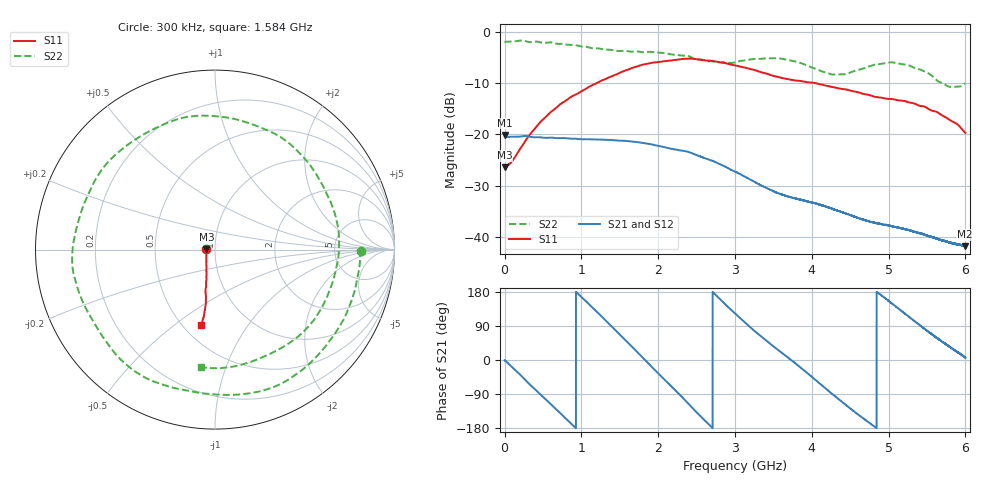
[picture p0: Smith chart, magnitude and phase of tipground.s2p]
!  8/6/2020  02:03:47
! Ref Plane: 0.000 mm
# MHZ S MA R  50
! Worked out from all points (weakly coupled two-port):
!   10001 points, 300 kHz to 6 GHz, reference 50 ohm
!   highest |S21| = -20.10 dB at 300 kHz (marker M1); lowest = -41.9 dB at 5.994 GHz (marker M2)
!   lowest |S11| = -26.5 dB at 300 kHz (marker M3), VSWR 1.10, Z = 45.5 + j0.0582 ohm
!   |S11| at or under -10 dB: start of sweep to 1.191 GHz; 4.063 GHz to end of sweep
!   |S22| runs from -10.7 to -1.6 dB; largest |S21 - S12| = 0.0025
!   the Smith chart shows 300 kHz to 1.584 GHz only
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0.3  0.04754 179.2  0.09885 -0.9  0.09639 -0.9  0.8153 -0.4
287.0857  0.09046 -122.8  0.0965 -56.2  0.0967 -56.3  0.8146 -83.4
590.0705  0.1627 -107.2  0.09302 -114.3  0.09329 -114.3  0.7996 -170.9
818.0591  0.2199 -103.5  0.09152 -158.7  0.09179 -158.7  0.7564 124.5
1000.45  0.2644 -101.0  0.08983 166.2  0.08991 166.2  0.7284 73.5
1255.437  0.3349 -99.5  0.0893 116.4  0.08945 116.4  0.6903 -0.8
1538.623  0.4136 -100.1  0.08678 59.8  0.08693 59.6  0.6601 -84.3
1781.611  0.479 -103.4  0.08301 9.7  0.08322 9.7  0.6421 -152.3
2000.6  0.5111 -107.5  0.07727 -35.4  0.0775 -35.4  0.6335 149.7
2257.387  0.5409 -111.0  0.07051 -86.9  0.07084 -87.0  0.6006 83.4
2543.573  0.5386 -117.4  0.06105 -146.7  0.06109 -146.8  0.5448 5.5
2790.16  0.5102 -120.4  0.05164 163.5  0.05167 163.5  0.5088 -67.7
3000.15  0.4759 -121.8  0.04325 123.0  0.04327 123.0  0.508 -131.6
3234.138  0.4318 -122.4  0.035 80.1  0.03491 80.2  0.5487 164.2
3515.524  0.3723 -119.6  0.02748 33.6  0.02738 33.6  0.5582 94.2
4000.3  0.3225 -110.7  0.02161 -44.3  0.02154 -44.2  0.4527 -27.8
4226.489  0.2954 -108.0  0.01915 -83.1  0.01923 -83.2  0.3942 -97.6
4495.275  0.2701 -103.8  0.01627 -127.0  0.01634 -126.9  0.4026 173.9
5000.45  0.223 -94.1  0.01287 155.8  0.01284 155.9  0.5065 43.3
5510.425  0.1794 -89.1  0.01017 75.8  0.01017 75.6  0.3994 -76.1
5994  0.1044 -84.6  0.00805 7.1  0.008133 7.4  0.3154 120.6
6000  0.1036 -84.6  0.00809 6.5  0.008086 6.3  0.3177 118.7
